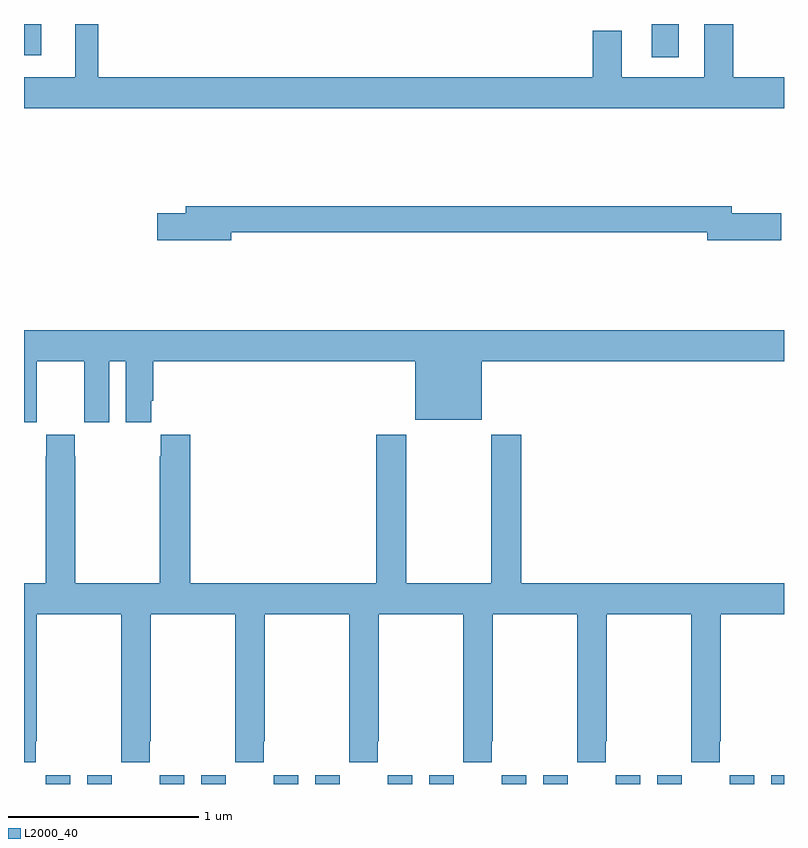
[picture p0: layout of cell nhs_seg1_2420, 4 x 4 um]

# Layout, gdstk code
import gdstk
lib = gdstk.Library(unit=1e-6, precision=1e-09)
def R(c, l, rs):  # rectangles x0, y0, x1, y1
    for r in rs: c.add(gdstk.rectangle(r[:2], r[2:], *l))
def P(c, l, *ps):  # polygons
    for p in ps: c.add(gdstk.Polygon(p, *l))
L2000_40 = (2000, 40)

nhs_seg1_2420 = lib.new_cell('nhs_seg1_2420')
R(nhs_seg1_2420, L2000_40, [(243.114,524.199,243.244,524.245), (243.332,524.199,243.462,524.245), (243.714,524.199,243.844,524.245), (243.932,524.199,244.062,524.245), (244.314,524.199,244.444,524.245), (244.532,524.199,244.662,524.245), (244.914,524.199,245.044,524.245), (245.132,524.199,245.262,524.245), (245.514,524.199,245.644,524.245), (245.732,524.199,245.862,524.245), (246.114,524.199,246.244,524.245), (246.332,524.199,246.462,524.245), (246.714,524.199,246.844,524.245), (246.932,524.199,247,524.245), (246.305,528.024,246.445,528.199), (243,528.035,243.091,528.199)])
P(nhs_seg1_2420, L2000_40, [(247,527.92),(246.734,527.92),(246.734,528.199),(246.581,528.199),(246.581,527.92),(246.145,527.92),(246.145,528.163),(245.993,528.163),(245.993,527.92),(243.391,527.92),(243.391,528.199),(243.269,528.199),(243.269,527.92),(243,527.92),(243,527.756),(247,527.756)],
  [(244.09,527.104),(246.596,527.104),(246.596,527.062),(246.985,527.062),(246.985,527.204),(246.724,527.204),(246.724,527.24),(243.851,527.24),(243.851,527.204),(243.702,527.204),(243.702,527.062),(244.09,527.062)],
  [(243,526.104),(243.066,526.104),(243.066,526.216),(243.067,526.216),(243.067,526.424),(243.317,526.424),(243.317,526.216),(243.318,526.216),(243.318,526.104),(243.448,526.104),(243.448,526.424),(243.536,526.424),(243.536,526.104),(243.67,526.104),(243.67,526.216),(243.68,526.216),(243.68,526.424),(245.06,526.424),(245.06,526.115),(245.41,526.115),(245.41,526.424),(247,526.424),(247,526.588),(243,526.588)],
  [(243.063,524.425),(243.066,524.425),(243.066,525.092),(243.511,525.092),(243.511,524.425),(243.513,524.425),(243.513,524.313),(243.663,524.313),(243.663,524.425),(243.666,524.425),(243.666,525.092),(244.111,525.092),(244.111,524.425),(244.113,524.425),(244.113,524.313),(244.263,524.313),(244.263,524.425),(244.266,524.425),(244.266,525.092),(244.711,525.092),(244.711,524.425),(244.713,524.425),(244.713,524.313),(244.863,524.313),(244.863,524.425),(244.866,524.425),(244.866,525.092),(245.311,525.092),(245.311,524.425),(245.313,524.425),(245.313,524.313),(245.463,524.313),(245.463,524.425),(245.466,524.425),(245.466,525.092),(245.911,525.092),(245.911,524.425),(245.913,524.425),(245.913,524.313),(246.063,524.313),(246.063,524.425),(246.066,524.425),(246.066,525.092),(246.511,525.092),(246.511,524.425),(246.513,524.425),(246.513,524.313),(246.663,524.313),(246.663,524.425),(246.666,524.425),(246.666,525.092),(247,525.092),(247,525.256),(245.618,525.256),(245.618,526.036),(245.458,526.036),(245.458,525.256),(245.013,525.256),(245.013,526.036),(244.853,526.036),(244.853,525.256),(243.875,525.256),(243.875,526.036),(243.721,526.036),(243.721,525.923),(243.715,525.923),(243.715,525.256),(243.27,525.256),(243.27,525.923),(243.267,525.923),(243.267,526.036),(243.117,526.036),(243.117,525.923),(243.115,525.923),(243.115,525.256),(243,525.256),(243,524.313),(243.063,524.313)])

lib.write_gds('nhs_seg1_2420.gds')
